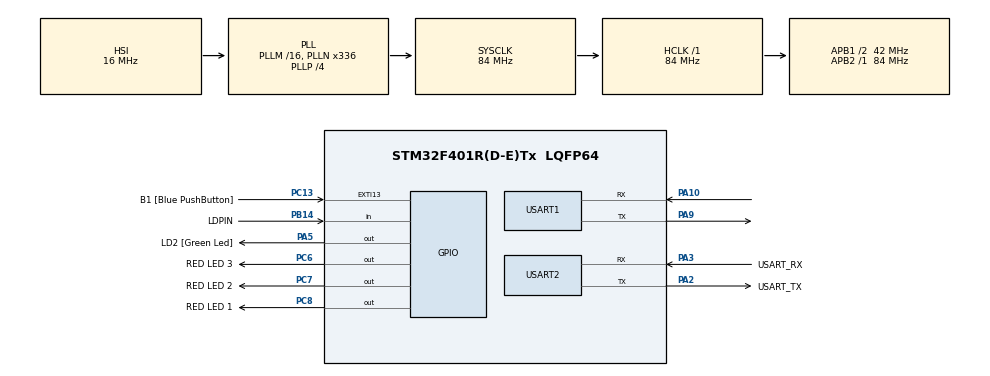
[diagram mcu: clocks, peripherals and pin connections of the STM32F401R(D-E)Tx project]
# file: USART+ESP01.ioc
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Mcu.Family=STM32F4
Mcu.Name=STM32F401R(D-E)Tx
Mcu.Package=LQFP64
NVIC.PriorityGroup=NVIC_PRIORITYGROUP_0
NVIC.USART1_IRQn=true\:0\:0\:false\:false\:true\:true\:true
PA10.Mode=Asynchronous
PA10.Signal=USART1_RX
PA13.GPIO_Label=TMS
PA13.Mode=Serial_Wire
PA13.Signal=SYS_JTMS-SWDIO
PA14.GPIO_Label=TCK
PA14.Mode=Serial_Wire
PA14.Signal=SYS_JTCK-SWCLK
PA2.GPIO_Label=USART_TX
PA2.GPIO_Mode=GPIO_MODE_AF_PP
PA2.GPIO_PuPd=GPIO_NOPULL
PA2.GPIO_Speed=GPIO_SPEED_FREQ_LOW
PA2.Mode=Asynchronous
PA2.Signal=USART2_TX
PA3.GPIO_Label=USART_RX
PA3.GPIO_Mode=GPIO_MODE_AF_PP
PA3.GPIO_PuPd=GPIO_NOPULL
PA3.GPIO_Speed=GPIO_SPEED_FREQ_LOW
PA3.Mode=Asynchronous
PA3.Signal=USART2_RX
PA5.GPIO_Label=LD2 [Green Led]
PA5.GPIO_Mode=GPIO_MODE_OUTPUT_PP
PA5.GPIO_PuPd=GPIO_NOPULL
PA5.GPIO_Speed=GPIO_SPEED_FREQ_LOW
PA5.Signal=GPIO_Output
PA9.Mode=Asynchronous
PA9.Signal=USART1_TX
PB14.GPIO_Label=LDPIN
PB14.GPIO_PuPd=GPIO_PULLDOWN
PB14.Signal=GPIO_Input
PB3.GPIO_Label=SWO
PB3.Signal=SYS_JTDO-SWO
PC13-ANTI_TAMP.GPIO_Label=B1 [Blue PushButton]
PC13-ANTI_TAMP.GPIO_ModeDefaultEXTI=GPIO_MODE_IT_FALLING
PC13-ANTI_TAMP.GPIO_PuPd=GPIO_NOPULL
PC13-ANTI_TAMP.Signal=GPXTI13
PC14-OSC32_IN.Mode=LSE-External-Oscillator
PC14-OSC32_IN.Signal=RCC_OSC32_IN
PC15-OSC32_OUT.Mode=LSE-External-Oscillator
PC15-OSC32_OUT.Signal=RCC_OSC32_OUT
PC6.GPIO_Label=RED LED 3
PC6.Signal=GPIO_Output
PC7.GPIO_Label=RED LED 2
PC7.Signal=GPIO_Output
PC8.GPIO_Label=RED LED 1
PC8.Signal=GPIO_Output
PH0\ -\ OSC_IN.Mode=HSE-External-Clock-Source
PH0\ -\ OSC_IN.Signal=RCC_OSC_IN
PH1\ -\ OSC_OUT.Mode=HSE-External-Clock-Source
PH1\ -\ OSC_OUT.Signal=RCC_OSC_OUT
ProjectManager.HeapSize=0x200
ProjectManager.StackSize=0x400
ProjectManager.TargetToolchain=MDK-ARM V5.27
RCC.48MHZClocksFreq_Value=48000000
RCC.AHBFreq_Value=84000000
RCC.APB1CLKDivider=RCC_HCLK_DIV2
RCC.APB1Freq_Value=42000000
RCC.APB1TimFreq_Value=84000000
RCC.APB2Freq_Value=84000000
RCC.APB2TimFreq_Value=84000000
RCC.CortexFreq_Value=84000000
RCC.HCLKFreq_Value=84000000
RCC.HSE_VALUE=8000000
RCC.HSI_VALUE=16000000
RCC.PLLN=336
RCC.PLLP=RCC_PLLP_DIV4
RCC.PLLQ=7
RCC.SYSCLKFreq_VALUE=84000000
RCC.SYSCLKSource=RCC_SYSCLKSOURCE_PLLCLK
RCC.VCOOutputFreq_Value=336000000
USART1.VirtualMode=VM_ASYNC
USART2.VirtualMode=VM_ASYNC
board=NUCLEO-F401RE

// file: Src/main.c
/* USER CODE BEGIN Header */
/**
  ******************************************************************************
  * @file           : main.c
  * @brief          : Main program body
  ******************************************************************************
  * @attention
  *
  * <h2><center>&copy; Copyright (c) 2020 STMicroelectronics.
  * All rights reserved.</center></h2>
  *
  * This software component is licensed by ST under BSD 3-Clause license,
  * the "License"; You may not use this file except in compliance with the
  * License. You may obtain a copy of the License at:
  *                        opensource.org/licenses/BSD-3-Clause
  *
  ******************************************************************************
  */
/* USER CODE END Header */

#include "main.h"
#include "string.h"
#include "esp_01.h"
//#include "Setings.h"
#include <stdio.h>

/* USER CODE BEGIN PD */
#define RX_BUF_MASK 1024-1
/* USER CODE END PD */

UART_HandleTypeDef huart1;
UART_HandleTypeDef huart2;

void SystemClock_Config(void);
static void MX_GPIO_Init(void);
static void MX_USART2_UART_Init(void);
static void MX_USART1_UART_Init(void);
/* USER CODE BEGIN PFP */
void clear_rx_buf(void);
uint8_t check_answer(char *str,uint16_t wait);
void usart1_send_string(const char str[]);
void usart2_send_string(const char str[]);
void esp_Start2(void);
void usart1_reciv_string(void);
void Clear_buffer(void);
void recive(void);
void clear_Mess(void);
void send(char str[] , uint32_t time);

const char server_Ip [15]= "192.168.8.102";
const char acsessPoint[20]="MTS424D-8942";
const char acsessPass[20]="9ifdrfrr";
const char serverIp [15]= "192.168.8.102";
const char conn_TCP2 []= "AT+CIPSTART=\"TCP\",\"192.168.8.102\",9076\r\n";

//void recive(void);
#define ITM_Port8(n)    (*((volatile unsigned char *)(0xE0000000+4*n)))
#define ITM_Port16(n)   (*((volatile unsigned short*)(0xE0000000+4*n)))
#define ITM_Port32(n)   (*((volatile unsigned long *)(0xE0000000+4*n)))
#define DEMCR           (*((volatile unsigned long *)(0xE000EDFC)))
#define TRCENA           0x01000000

struct __FILE { int handle;};
FILE __stdout;
FILE __stdin;

int fputc(int ch, FILE *f) {
   if (DEMCR & TRCENA) {

while (ITM_Port32(0) == 0){};
    ITM_Port8(0) = ch;
  }
  return(ch);
}

/* USER CODE END PFP */

/* USER CODE BEGIN 0 */
char test[] = "AT\r\n";
char sendbuf[50];
char rx_buf[1024]="";
volatile uint16_t rx_pos=0;

//const char conn_TCP2 []= "AT+CIPSTART=\"TCP\",\"192.168.8.100\",9076\r\n";
const uint16_t serverPort = 9076;

//+++++++++++++++++++++++++++++++++++++++++++++++++++++++++++++++++++++++++++++++//
//=================================SETTINGS======================================//
//+++++++++++++++++++++++++++++++++++++++++++++++++++++++++++++++++++++++++++++++//

char mess[50]="";

/* USER CODE END 0 */

int main(void)
{

  /* MCU Configuration--------------------------------------------------------*/

  /* Reset of all peripherals, Initializes the Flash interface and the Systick. */
  HAL_Init();

  /* Configure the system clock */
  SystemClock_Config();

  /* Initialize all configured peripherals */
  MX_GPIO_Init();
  MX_USART2_UART_Init();
  MX_USART1_UART_Init();

  /* Infinite loop */
  /* USER CODE BEGIN WHILE */
	uint8_t step=0;
	char str[] = "";
	char send[]="";
	//char test_string []= " hello";

__HAL_UART_ENABLE_IT(&huart1, UART_IT_RXNE);
esp_Start2();
uint32_t foto = 0;
sprintf(str,"%s%s","\r\nINIT FINISHED","\r\n");
HAL_UART_Transmit(&huart2,(uint8_t*)str,strlen(str),1000);

char send_[]="im STM";
char *tok;
char mess[50]="";
uint16_t some_data = 777;
uint8_t Flag= 1;
  while (1)
  {

		if(Flag==1)
			{
					 sprintf(mess,"%s%c",send_,'\0');
					 if(DEBUG)printf("adc_value = %s\r\n", mess);
					 if(DEBUG)printf("send_TSP_sizeof_message\r\n");
					 sprintf(sendbuf,"%s%d%s%c",send_TSP,strlen(mess),"\r\n",'\0');
					 usart1_send_string(sendbuf);
					 HAL_Delay(50);
           if(DEBUG)printf("send_TSP_message\r\n");
           usart1_send_string(mess);
	         if(DEBUG)usart2_send_string(rx_buf);
					 clear_Mess();
					 if(check_answer("SEND OK",2000))
						 {
							 Flag=0;
							 usart2_send_string("send END\r\n");
						 }
			}
					 sprintf(mess,"%d%c",some_data,'\0');
					 if(DEBUG)printf("adc_value = %s\r\n", mess);
					 if(DEBUG)printf("send_TSP_sizeof_message\r\n");
					 sprintf(sendbuf,"%s%d%s%c",send_TSP,strlen(mess),"\r\n",'\0');
					 usart1_send_string(sendbuf);
					 HAL_Delay(50);

           usart1_send_string(mess);

			if(HAL_GPIO_ReadPin(GPIOB, GPIO_PIN_14)==GPIO_PIN_SET)
			{
				HAL_UART_Transmit(&huart2,(uint8_t*)"SVETIIIIIK \n\r",16,2000);
				foto = HAL_GPIO_ReadPin(GPIOB, GPIO_PIN_14);
				HAL_UART_Transmit(&huart2,(uint8_t*)foto,sizeof(foto),2000);
			}
			foto = HAL_GPIO_ReadPin(GPIOB, GPIO_PIN_14);
			HAL_UART_Transmit(&huart2,(uint8_t*)foto,sizeof(foto),2000);
	if(check_answer("LED1",1000))
			{
			HAL_GPIO_TogglePin(GPIOC, GPIO_PIN_8);
			}
	if(check_answer("LED2",1000))
			{
			HAL_GPIO_TogglePin(GPIOC, GPIO_PIN_6);
			}
	if(check_answer("LED3",1000))
			{
			HAL_GPIO_TogglePin(GPIOC, GPIO_PIN_7);
			}
    /* USER CODE END WHILE */

  }
}

void SystemClock_Config(void)
{
  RCC_OscInitTypeDef RCC_OscInitStruct = {0};
  RCC_ClkInitTypeDef RCC_ClkInitStruct = {0};

  /** Configure the main internal regulator output voltage
  */
  __HAL_RCC_PWR_CLK_ENABLE();
  __HAL_PWR_VOLTAGESCALING_CONFIG(PWR_REGULATOR_VOLTAGE_SCALE2);
  /** Initializes the CPU, AHB and APB busses clocks
  */
  RCC_OscInitStruct.OscillatorType = RCC_OSCILLATORTYPE_HSI;
  RCC_OscInitStruct.HSIState = RCC_HSI_ON;
  RCC_OscInitStruct.HSICalibrationValue = RCC_HSICALIBRATION_DEFAULT;
  RCC_OscInitStruct.PLL.PLLState = RCC_PLL_ON;
  RCC_OscInitStruct.PLL.PLLSource = RCC_PLLSOURCE_HSI;
  RCC_OscInitStruct.PLL.PLLM = 16;
  RCC_OscInitStruct.PLL.PLLN = 336;
  RCC_OscInitStruct.PLL.PLLP = RCC_PLLP_DIV4;
  RCC_OscInitStruct.PLL.PLLQ = 7;
  if (HAL_RCC_OscConfig(&RCC_OscInitStruct) != HAL_OK)
  {
    Error_Handler();
  }
  /** Initializes the CPU, AHB and APB busses clocks
  */
  RCC_ClkInitStruct.ClockType = RCC_CLOCKTYPE_HCLK|RCC_CLOCKTYPE_SYSCLK
                              |RCC_CLOCKTYPE_PCLK1|RCC_CLOCKTYPE_PCLK2;
  RCC_ClkInitStruct.SYSCLKSource = RCC_SYSCLKSOURCE_PLLCLK;
  RCC_ClkInitStruct.AHBCLKDivider = RCC_SYSCLK_DIV1;
  RCC_ClkInitStruct.APB1CLKDivider = RCC_HCLK_DIV2;
  RCC_ClkInitStruct.APB2CLKDivider = RCC_HCLK_DIV1;

  if (HAL_RCC_ClockConfig(&RCC_ClkInitStruct, FLASH_LATENCY_2) != HAL_OK)
  {
    Error_Handler();
  }
}

static void MX_USART1_UART_Init(void)
{

  huart1.Instance = USART1;
  huart1.Init.BaudRate = 115200;
  huart1.Init.WordLength = UART_WORDLENGTH_8B;
  huart1.Init.StopBits = UART_STOPBITS_1;
  huart1.Init.Parity = UART_PARITY_NONE;
  huart1.Init.Mode = UART_MODE_TX_RX;
  huart1.Init.HwFlowCtl = UART_HWCONTROL_NONE;
  huart1.Init.OverSampling = UART_OVERSAMPLING_16;
  if (HAL_UART_Init(&huart1) != HAL_OK)
  {
    Error_Handler();
  }

}

static void MX_USART2_UART_Init(void)
{

  huart2.Instance = USART2;
  huart2.Init.BaudRate = 115200;
  huart2.Init.WordLength = UART_WORDLENGTH_8B;
  huart2.Init.StopBits = UART_STOPBITS_1;
  huart2.Init.Parity = UART_PARITY_NONE;
  huart2.Init.Mode = UART_MODE_TX_RX;
  huart2.Init.HwFlowCtl = UART_HWCONTROL_NONE;
  huart2.Init.OverSampling = UART_OVERSAMPLING_16;
  if (HAL_UART_Init(&huart2) != HAL_OK)
  {
    Error_Handler();
  }

}

static void MX_GPIO_Init(void)
{
  GPIO_InitTypeDef GPIO_InitStruct = {0};

  /* GPIO Ports Clock Enable */
  __HAL_RCC_GPIOC_CLK_ENABLE();
  __HAL_RCC_GPIOH_CLK_ENABLE();
  __HAL_RCC_GPIOA_CLK_ENABLE();
  __HAL_RCC_GPIOB_CLK_ENABLE();

  /*Configure GPIO pin Output Level */
  HAL_GPIO_WritePin(LD2_GPIO_Port, LD2_Pin, GPIO_PIN_RESET);

  /*Configure GPIO pin Output Level */
  HAL_GPIO_WritePin(GPIOC, RED_LED_3_Pin|RED_LED_2_Pin|RED_LED_1_Pin, GPIO_PIN_RESET);

  /*Configure GPIO pin : B1_Pin */
  GPIO_InitStruct.Pin = B1_Pin;
  GPIO_InitStruct.Mode = GPIO_MODE_IT_FALLING;
  GPIO_InitStruct.Pull = GPIO_NOPULL;
  HAL_GPIO_Init(B1_GPIO_Port, &GPIO_InitStruct);

  /*Configure GPIO pin : LD2_Pin */
  GPIO_InitStruct.Pin = LD2_Pin;
  GPIO_InitStruct.Mode = GPIO_MODE_OUTPUT_PP;
  GPIO_InitStruct.Pull = GPIO_NOPULL;
  GPIO_InitStruct.Speed = GPIO_SPEED_FREQ_LOW;
  HAL_GPIO_Init(LD2_GPIO_Port, &GPIO_InitStruct);

  /*Configure GPIO pin : LDPIN_Pin */
  GPIO_InitStruct.Pin = LDPIN_Pin;
  GPIO_InitStruct.Mode = GPIO_MODE_INPUT;
  GPIO_InitStruct.Pull = GPIO_PULLDOWN;
  HAL_GPIO_Init(LDPIN_GPIO_Port, &GPIO_InitStruct);

  /*Configure GPIO pins : RED_LED_3_Pin RED_LED_2_Pin RED_LED_1_Pin */
  GPIO_InitStruct.Pin = RED_LED_3_Pin|RED_LED_2_Pin|RED_LED_1_Pin;
  GPIO_InitStruct.Mode = GPIO_MODE_OUTPUT_PP;
  GPIO_InitStruct.Pull = GPIO_NOPULL;
  GPIO_InitStruct.Speed = GPIO_SPEED_FREQ_LOW;
  HAL_GPIO_Init(GPIOC, &GPIO_InitStruct);

}

/* USER CODE BEGIN 4 */
void USART1_IRQHandler(void){
    unsigned char rx_b;
    if (USART1->SR & USART_SR_RXNE)
	{
		    rx_b = USART1->DR;
		    rx_buf[rx_pos++]=rx_b;//extern
	     	rx_pos &= RX_BUF_MASK;
		   	printf("%c",rx_b);
	}
      rx_buf[rx_pos+1]='\0';
}

void clear_rx_buf(void){
 for(;rx_pos!=0;rx_pos--)
		rx_buf[rx_pos]='\0';
	rx_pos=0;
}

void clear_Mess(void){
 for(uint16_t i = 0;i < 50;i++)
	mess[i]='\0';
	//rx_pos=0;
}
void usart1_send_string(const char str[]){
HAL_UART_Transmit(&huart1,(uint8_t*)str,strlen(str),100);
}

void usart2_send_string(const char str[]){
HAL_UART_Transmit(&huart2,(uint8_t*)str,strlen(str),100);
}

void usart1_reciv_string(){
HAL_UART_Receive_IT(&huart1,(uint8_t*)rx_buf,1024);
//HAL_UART_Transmit(&huart1,(uint8_t*)str,strlen(str),100);
}

uint8_t check_answer(char *str,uint16_t wait){
uint32_t time_Ms_Now = HAL_GetTick();
char *istr = NULL;
	while(istr==NULL && ((HAL_GetTick()-time_Ms_Now)< wait)){
			istr=strstr(rx_buf,str);
		}
		if(istr!=NULL){
			clear_rx_buf();
			return 1;
		}else return 0;
}

void Clear_buffer()
{
	int i = 0;
while(1)
	{
		rx_buf[i] = '\0';
		if(i == strlen(rx_buf))
			break;
	}

}

	void esp_Start2(void){
//usart1_send_string(restart);
uint8_t step=0;

while(1){

	switch(step){
		 case(0):
			usart2_send_string("send_string(at_test)\r\n");
		 usart1_send_string(at_test);
			if (check_answer("OK",1000))step++;
		break;
		case(1):
			usart2_send_string("send_string(echoOff)\r\n");
			usart1_send_string(echoOff);
			if (check_answer("OK",1000))step++;
		break;
		case(2):
			usart2_send_string("send_string(station_mode)\r\n");
			usart1_send_string(station_mode);
			if (check_answer("OK",1000))step++;
		break;
		case(3):
		usart2_send_string("send_string(restart)\r\n");
			usart1_send_string(restart);
		  HAL_Delay(2500);
      clear_rx_buf();
      step++;
		break;
		case(4):
			usart2_send_string("send_string(conect_to_AP)\r\n");
			sprintf(sendbuf,"%s%s%s%s%s","AT+CWJAP=\"",acsessPoint,"\",\"",acsessPass,"\"\r\n");
		  usart1_send_string(sendbuf);
			if (check_answer("OK",10000))
			step++;
		break;
		case(5):
			usart2_send_string("send_string(conect_to_AP_ststus)\r\n");
			usart1_send_string(conect_AP_status);
		  if (check_answer("OK",5000))step++;
		break;
		case(6):
			usart2_send_string("send_string(get_IP)\r\n");
			usart1_send_string(get_IP);
		  if (check_answer("OK",1000))step++;
		break;
		case(7):
			usart2_send_string("NoMultConn\r\n");
			usart1_send_string(NoMultConn);
		  if (check_answer("OK",1000))step++;
		break;
		case(8):
			usart2_send_string("connect to server\r\n");
		  usart1_send_string(conn_TCP2);          // connect to server
		  if (check_answer("CONNECT",3000))
					step++;
		break;
			case(9):
				usart2_send_string("info about connect:\r\n");
				usart1_send_string(info);          // connect to server
			HAL_UART_Transmit(&huart2,(uint8_t*)rx_buf,strlen(rx_buf),1000);
		  if (check_answer("OK",1000))
				{
					step++;
				}
		break;
	}
if (step==10)break;
	HAL_Delay(200);
 }
}

void send(char str[] , uint32_t time)
{
				char *tok;
				tok = strtok (str, " \r\n");
				//sprintf(adc_Value,"%s%c",tok,'\0');
	      //sprintf(adc_Value,"%d%c",adc_value,'\0');
        //if(DEBUG)usart2_send_string("send_TSP_sizeof_message\r\n");
	      sprintf(sendbuf,"%s%d%c",send_TSP,strlen(tok),'\0');
				//usart2_send_string("BREAKPOINT 5\r\n");
        //usart1_send_string_slow(sendbuf);
				//usart2_send_string("BREAKPOINT 6\r\n");
				//usart2_send_string("BREAKPOINT 7\r\n");
        if(DEBUG)usart2_send_string("send_TSP_message\r\n");
        //usart2_send_string("BREAKPOINT 8\r\n");
				usart1_send_string(tok);
				//delay(time);
				HAL_Delay(time);
				//delay(500000);
}
/* USER CODE END 4 */

void Error_Handler(void)
{
}

/************************ (C) COPYRIGHT STMicroelectronics *****END OF FILE****/
